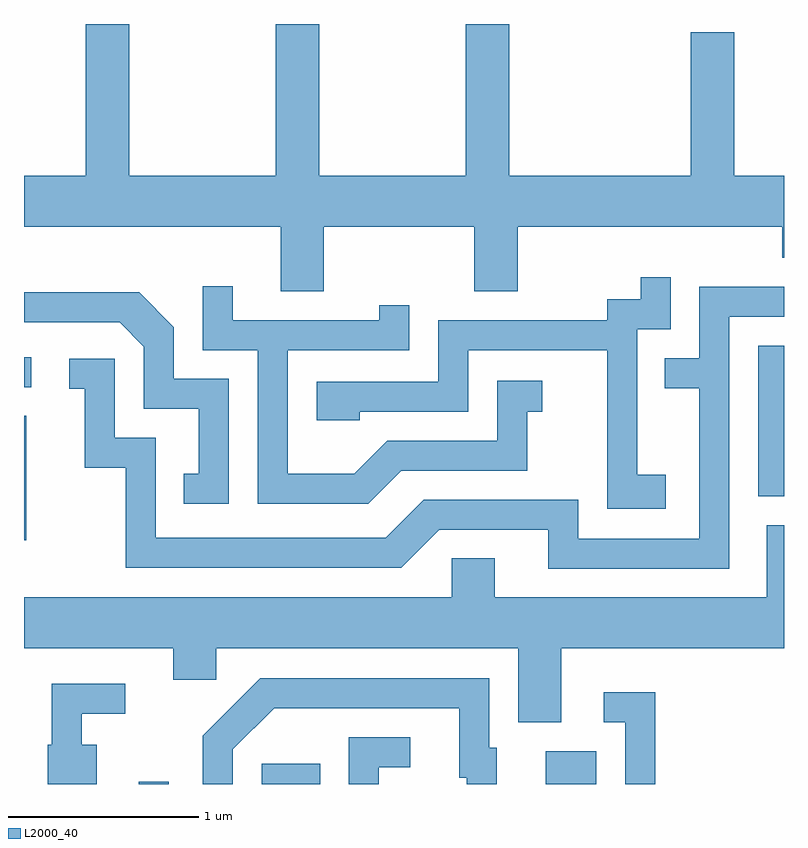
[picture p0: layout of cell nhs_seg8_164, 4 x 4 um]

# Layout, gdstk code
import gdstk
lib = gdstk.Library(unit=1e-6, precision=1e-09)
def R(c, l, rs):  # rectangles x0, y0, x1, y1
    for r in rs: c.add(gdstk.rectangle(r[:2], r[2:], *l))
def P(c, l, *ps):  # polygons
    for p in ps: c.add(gdstk.Polygon(p, *l))
L2000_40 = (2000, 40)

nhs_seg8_164 = lib.new_cell('nhs_seg8_164')
R(nhs_seg8_164, L2000_40, [(190.216,1862.342,190.374,1862.353), (190.861,1862.342,191.169,1862.449), (192.356,1862.342,192.624,1862.514), (189.611,1863.626,189.624,1864.279), (193.476,1863.856,193.611,1864.649), (189.611,1864.431,189.648,1864.589)])
P(nhs_seg8_164, L2000_40, [(191.189,1865.276),(191.981,1865.276),(191.981,1864.936),(192.209,1864.936),(192.209,1865.276),(193.601,1865.276),(193.601,1865.111),(193.611,1865.111),(193.611,1865.544),(193.349,1865.544),(193.349,1866.299),(193.121,1866.299),(193.121,1865.544),(192.164,1865.544),(192.164,1866.342),(191.936,1866.342),(191.936,1865.544),(191.164,1865.544),(191.164,1866.342),(190.936,1866.342),(190.936,1865.544),(190.164,1865.544),(190.164,1866.342),(189.936,1866.342),(189.936,1865.544),(189.611,1865.544),(189.611,1865.276),(190.961,1865.276),(190.961,1864.936),(191.189,1864.936)],
  [(192.989,1863.969),(192.839,1863.969),(192.839,1864.736),(193.014,1864.736),(193.014,1865.008),(192.856,1865.008),(192.856,1864.894),(192.681,1864.894),(192.681,1864.784),(191.791,1864.784),(191.791,1864.459),(191.151,1864.459),(191.151,1864.256),(191.379,1864.256),(191.379,1864.301),(191.949,1864.301),(191.949,1864.626),(192.681,1864.626),(192.681,1863.791),(192.989,1863.791)],
  [(191.597,1863.991),(192.259,1863.991),(192.259,1864.301),(192.338,1864.301),(192.338,1864.464),(192.101,1864.464),(192.101,1864.149),(191.524,1864.149),(191.349,1863.974),(190.999,1863.974),(190.999,1864.626),(191.639,1864.626),(191.639,1864.863),(191.481,1864.863),(191.481,1864.784),(190.709,1864.784),(190.709,1864.963),(190.551,1864.963),(190.551,1864.626),(190.841,1864.626),(190.841,1863.816),(191.422,1863.816)],
  [(193.324,1864.801),(193.611,1864.801),(193.611,1864.959),(193.166,1864.959),(193.166,1864.584),(192.983,1864.584),(192.983,1864.426),(193.166,1864.426),(193.166,1863.634),(192.529,1863.634),(192.529,1863.839),(191.714,1863.839),(191.514,1863.639),(190.304,1863.639),(190.304,1864.164),(190.089,1864.164),(190.089,1864.579),(189.848,1864.579),(189.848,1864.421),(189.931,1864.421),(189.931,1864.006),(190.146,1864.006),(190.146,1863.481),(191.597,1863.481),(191.797,1863.681),(192.371,1863.681),(192.371,1863.476),(193.324,1863.476)],
  [(190.689,1864.474),(190.399,1864.474),(190.399,1864.747),(190.217,1864.929),(189.611,1864.929),(189.611,1864.771),(190.114,1864.771),(190.241,1864.644),(190.241,1864.316),(190.531,1864.316),(190.531,1863.974),(190.453,1863.974),(190.453,1863.816),(190.689,1863.816)],
  [(192.439,1863.056),(193.611,1863.056),(193.611,1863.704),(193.521,1863.704),(193.521,1863.324),(192.089,1863.324),(192.089,1863.529),(191.861,1863.529),(191.861,1863.324),(189.611,1863.324),(189.611,1863.056),(190.396,1863.056),(190.396,1862.891),(190.624,1862.891),(190.624,1863.056),(192.211,1863.056),(192.211,1862.666),(192.439,1862.666)],
  [(190.709,1862.524),(190.927,1862.741),(191.901,1862.741),(191.901,1862.376),(191.941,1862.376),(191.941,1862.342),(192.099,1862.342),(192.099,1862.534),(192.059,1862.534),(192.059,1862.899),(190.854,1862.899),(190.551,1862.597),(190.551,1862.342),(190.709,1862.342)],
  [(189.994,1862.549),(189.914,1862.549),(189.914,1862.711),(190.143,1862.711),(190.143,1862.869),(189.756,1862.869),(189.756,1862.549),(189.736,1862.549),(189.736,1862.342),(189.994,1862.342)],
  [(192.934,1862.824),(192.663,1862.824),(192.663,1862.666),(192.776,1862.666),(192.776,1862.342),(192.934,1862.342)],
  [(191.479,1862.431),(191.643,1862.431),(191.643,1862.589),(191.321,1862.589),(191.321,1862.342),(191.479,1862.342)])

lib.write_gds('nhs_seg8_164.gds')
